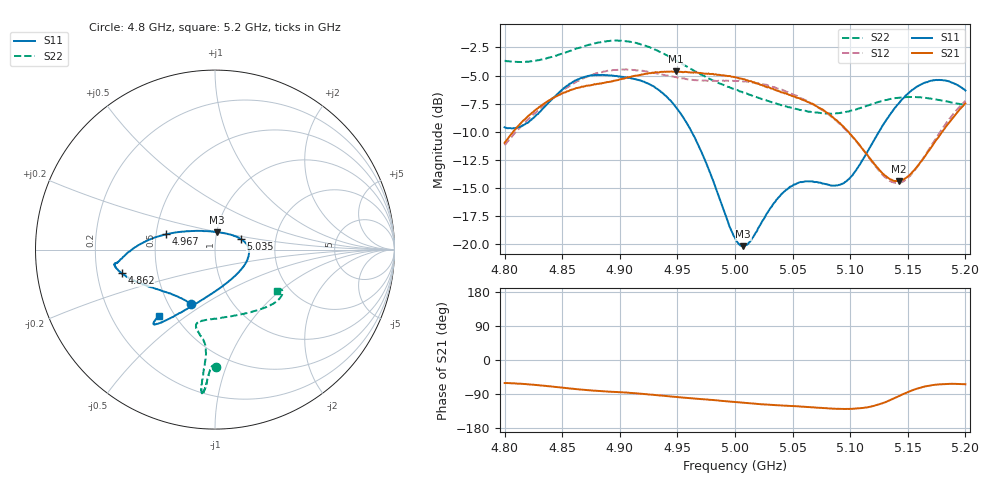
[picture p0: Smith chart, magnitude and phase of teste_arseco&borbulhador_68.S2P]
! Network Analyzer HP8722D
! Hewlett-Packard
! Data name: Linha & Wilkinson
! Saver's name: Rodrigo Anjos
! Comments: Teste da utilização de aquisição
! continua pelo VNA HP8722D
! Time and date: 15/4/2025 16:12
!  Frequency  S11  S21  S12  S22
# HZ  S  MA R 50
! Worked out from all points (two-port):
!   401 points, 4.8 GHz to 5.2 GHz, reference 50 ohm
!   highest |S21| = -4.64 dB at 4.949 GHz (marker M1); lowest = -14.4 dB at 5.142 GHz (marker M2)
!   |S21| within 3 dB of the highest: 4.832 GHz to 5.069 GHz (237 MHz wide, 4.79 % of centre); 5.198435 GHz to end of sweep
!   lowest |S11| = -20.2 dB at 5.007 GHz (marker M3), VSWR 1.22, Z = 50.2 + j9.89 ohm
!   |S11| at or under -10 dB: 4.962 GHz to 5.125 GHz (162.6 MHz wide, 3.22 % of centre)
!   |S22| runs from -8.4 to -1.9 dB; largest |S21 - S12| = 0.88
!   S11 on the Smith chart (normalised r, x): 4.8 GHz: 0.65, -0.44; 4.862 GHz: 0.31, -0.11; 4.967 GHz: 0.57, +0.11; 5.035 GHz: 1.32, +0.16; 5.2 GHz: 0.41, -0.40
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4.8e9  0.3313 -113.9  0.2825 -60.9  0.2758 -175.2  0.6544 -89.5
4.819e9  0.3452 -133.6  0.3653 -63.8  0.3533 -173.4  0.6484 -91.2
4.84e9  0.435 -152.9  0.4405 -69.7  0.4393 -173.6  0.6781 -92.5
4.862e9  0.5363 -165.7  0.4945 -76.8  0.5261 -176.4  0.7409 -93.5
4.867e9  0.5498 -167.6  0.5022 -78.2  0.5428 -177.5  0.7535 -93.8
4.899e9  0.5565 -172.1  0.5381 -84.9  0.5971 175.9  0.8026 -95.1
4.934e9  0.4843 -178.2  0.5805 -93.5  0.5739 171.9  0.7195 -95.6
4.949e9  0.4054 174.9  0.5864 -97.4  0.5536 172.2  0.6559 -95.3
4.967e9  0.284 162.4  0.5798 -102.1  0.5355 174.0  0.58 -94.9
5e9  0.1069 107.1  0.5529 -111.0  0.5325 176.4  0.4876 -99.3
5.007e9  0.09818 83.1  0.5419 -112.8  0.5294 176.3  0.4726 -101.0
5.014e9  0.1043 61.0  0.5309 -114.6  0.5259 176.2  0.4595 -102.5
5.035e9  0.1549 22.8  0.4849 -119.2  0.4974 175.1  0.4237 -103.8
5.049e9  0.181 7.7  0.4572 -121.5  0.467 174.4  0.4044 -100.9
5.067e9  0.1903 -11.5  0.4216 -125.0  0.4218 174.0  0.3867 -91.8
5.087e9  0.1824 -43.9  0.3591 -128.6  0.3573 173.6  0.382 -76.9
5.098e9  0.1937 -67.2  0.3181 -129.0  0.3175 174.5  0.3892 -67.6
5.134e9  0.3738 -116.2  0.1957 -106.9  0.1917 -159.6  0.4416 -43.4
5.142e9  0.4216 -120.6  0.1911 -95.7  0.1876 -147.0  0.4483 -39.9
5.154e9  0.4863 -125.2  0.2097 -80.0  0.2077 -128.8  0.4515 -35.6
5.171e9  0.5339 -128.8  0.273 -66.4  0.2781 -112.4  0.4429 -31.8
5.2e9  0.4829 -130.4  0.423 -64.1  0.4348 -106.1  0.4154 -33.4
